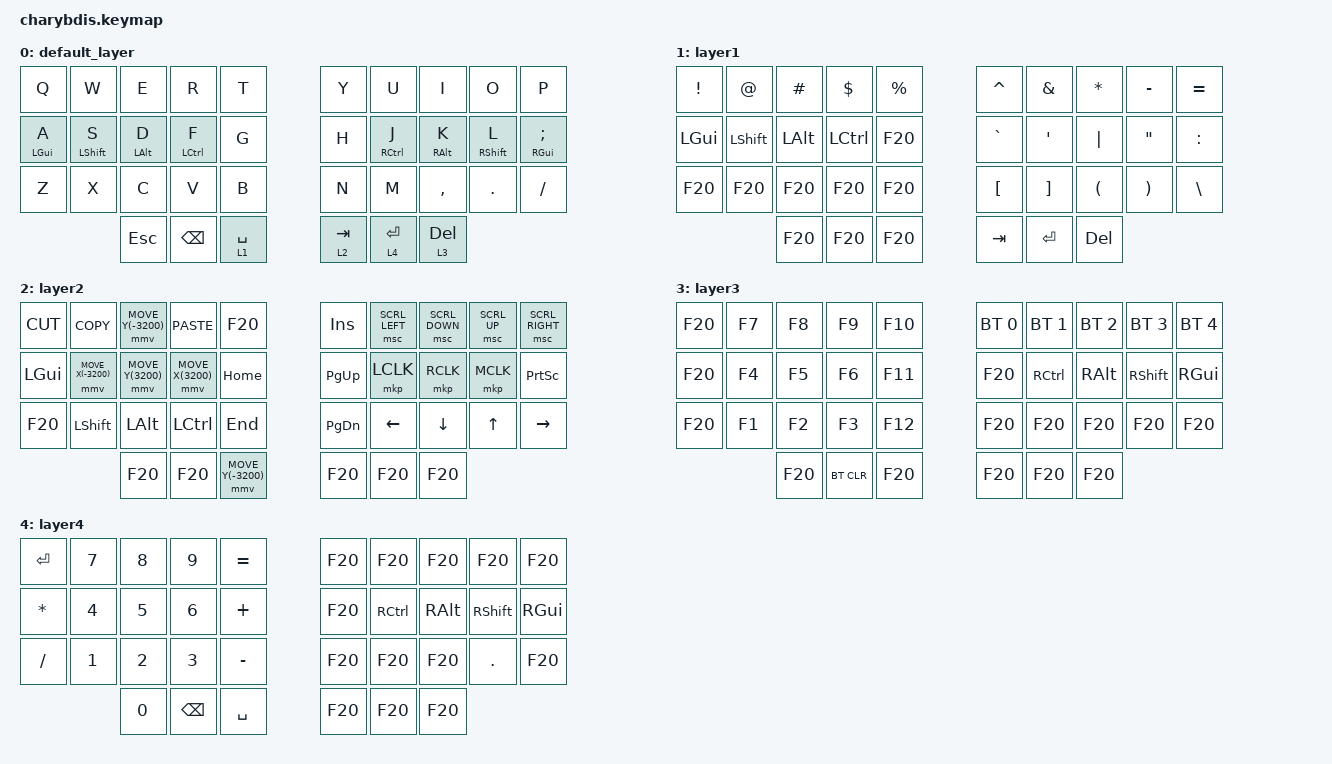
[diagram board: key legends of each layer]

#include <behaviors.dtsi>
#include <dt-bindings/zmk/keys.h>
#include <dt-bindings/zmk/bt.h>
#include <dt-bindings/zmk/outputs.h>
#include <dt-bindings/zmk/mouse.h>
#include <dt-bindings/zmk/ext_power.h>
#include <dt-bindings/zmk/pointing.h>


&lt { // layer-tap
  tapping-term-ms = <200>;
  quick-tap-ms = <200>;
  flavor = "hold-preferred";
};
&mt { // mod-tap
  tapping-term-ms = <200>;
  quick-tap-ms = <200>;
  flavor = "tap-preferred";
};
&mmv {
        time-to-max-speed-ms = <500>;
        acceleration-exponent=<1>;
};
&msc {
    time-to-max-speed-ms = <1>;
    acceleration-exponent = <0>;
};

/ {
    chosen { zmk,matrix_transform = &five_column_transform; };
};

/*                KEY POSITIONS for combos

  ╭────────────────────╮ ╭────────────────────╮
  │  0   1   2   3   4 │ │  5   6   7   8   9 │
  │ 10  11  12  13  14 │ │ 15  16  17  18  19 │
  │ 20  21  22  23  24 │ │ 25  26  27  28  29 │
  ╰───────╮ 30  31  32 │ │ 33  34  35 ╭───────╯
          ╰────────────╯ ╰────────────╯            */

/* / { */
/*     combos { */
/*         compatible = "zmk,combos"; */
/**/
/*         caps { */
/*             bindings = <&caps_word>; */
/*             key-positions = <27 28>; */
/*             layers = <0>; */
/*         }; */
/**/
/*         to_nav_layer { */
/*             bindings = <&to 1>; */
/*             key-positions = <16 17>; */
/*             layers = <0>; */
/*         }; */
/**/
/*         Escape { */
/*             bindings = <&kp ESCAPE>; */
/*             key-positions = <12 11>; */
/*         }; */
/**/
/*         Quote { */
/*             bindings = <&kp SQT>; */
/*             key-positions = <19 18>; */
/*         }; */
/*     }; */
/**/
/*     macros { */
/*         shift: shift { */
/*             compatible = "zmk,behavior-macro-one-param"; */
/*             #binding-cells = <1>; */
/*             bindings = */
/*                 <&macro_press>, */
/*                 <&kp LEFT_SHIFT>, */
/*                 <&macro_tap>, */
/*                 <&macro_param_1to1 &kp MACRO_PLACEHOLDER>, */
/*                 <&macro_release>, */
/*                 <&kp LEFT_SHIFT>; */
/**/
/*             label = "SHIFT"; */
/*         }; */
/**/
/*         Brackets: Brackets { */
/*             compatible = "zmk,behavior-macro"; */
/*             #binding-cells = <0>; */
/*             bindings = <&kp LS(LEFT_BRACKET) &kp SPACE &kp SPACE &kp LS(RIGHT_BRACKET) &kp LEFT &kp LEFT>; */
/*             label = "BRACKETS"; */
/*         }; */
/**/
/*         func_arrow: func_arrow { */
/*             compatible = "zmk,behavior-macro"; */
/*             #binding-cells = <0>; */
/*             bindings = <&kp MINUS &kp GT &kp SPACE>; */
/*             label = "FUNC_ARROW"; */
/*         }; */
/**/
/*         alt_tab_on: alt_tab { */
/*             compatible = "zmk,behavior-macro"; */
/*             #binding-cells = <0>; */
/*             bindings = <&kt LEFT_COMMAND &kp TAB &to 8>; */
/*             label = "ALT_TAB"; */
/*         }; */
/**/
/*         alt_tab_enter: alt_tab_off { */
/*             compatible = "zmk,behavior-macro"; */
/*             #binding-cells = <0>; */
/*             bindings = <&kt LEFT_COMMAND &to 0>; */
/*             label = "ALT_TAB_OFF"; */
/*         }; */
/**/
/*         alt_tab_esc: alt_tab_esc { */
/*             compatible = "zmk,behavior-macro"; */
/*             #binding-cells = <0>; */
/*             bindings = <&kp ESC &kt LEFT_COMMAND &to 0>; */
/*             label = "ALT_TAB_ESC"; */
/*         }; */
/*     }; */
/**/
/*     behaviors { */
/*         as_ht: autoshift_hold_tap { */
/*             compatible = "zmk,behavior-hold-tap"; */
/*             label = "AUTOSHIFT_HOLD_TAP"; */
/*             bindings = <&shift>, <&kp>; */
/**/
/*             #binding-cells = <2>; */
/*             tapping-term-ms = <190>; */
/*             flavor = "tap-preferred"; */
/*         }; */
/*     }; */
/* }; */
/ {

    keymap {
      compatible = "zmk,keymap";

      default_layer {
          bindings = <
//      ╭───────────────────────────────────────────────────────────╮   ╭───────────────────────────────────────────────────────────╮
//      │     Q     │     W     │     E     │     R     │     T     │   │     Y     │     U     │     I     │     O     │     P     │
            &kp Q       &kp W       &kp E        &kp R      &kp T           &kp Y       &kp U       &kp I       &kp O       &kp P    
//      ├───────────┼───────────┼───────────┼───────────┼───────────┤   ├───────────┼───────────┼───────────┼───────────┼───────────┤
//      │     A     │     S     │     D     │     F     │     G     │   │     H     │     J     │     K     │     L     │     :     │
           &mt LGUI A &mt LSHIFT S &mt LALT D &mt LCTRL F    &kp G           &kp H    &mt RCTL J   &mt RALT K &mt RSHFT L &mt RGUI SEMI  
//      ├───────────┼───────────┼───────────┼───────────┼───────────┤   ├───────────┼───────────┼───────────┼───────────┼───────────┤
//      │     Z     │     X     │     C     │     V     │     B     │   │     N     │     M     │     ,     │     .     │     /     │
            &kp Z       &kp X       &kp C      &kp V       &kp B           &kp N        &kp M     &kp COMMA    &kp DOT    &kp SLASH   
//      ╰───────────┼───────────┼───────────┼───────────┼───────────╯   ╰───────────┼───────────┼───────────┼───────────┼───────────╯
//                                   ESC      Backspace     Space           Tab         Enter      Delete
//                              │                                   │   │                                   │
                                   &kp ESC   &kp BSPC    &lt 1 SPACE      &lt 2 TAB   &lt 4 ENTER  &lt 3 DEL
//                              ╰───────────────────────────────────╯   ╰───────────────────────────────────╯
          >;
      };
        layer1 {
          bindings = <
//      ╭───────────────────────────────────────────────────────────╮   ╭───────────────────────────────────────────────────────────╮
//      │     !     │     @     │     #     │     $     │     %     │   │     ^     │     &     │     *     │     -     │     =     │
          &kp EXCL      &kp AT     &kp HASH    &kp DLLR   &kp PRCNT       &kp CARET   &kp AMPS    &kp STAR    &kp MINUS    &kp EQUAL 
//      ├───────────┼───────────┼───────────┼───────────┼───────────┤   ├───────────┼───────────┼───────────┼───────────┼───────────┤
//      │     _     │     _     │     _     │     _     │     _     │   │     `     │     '     │     |     │     "     │     :     │
          &kp LGUI   &kp LSHIFT   &kp LALT    &kp LCTRL    &kp F20        &kp GRAVE    &kp SQT    &kp PIPE     &kp DQT    &kp COLON     
//      ├───────────┼───────────┼───────────┼───────────┼───────────┤   ├───────────┼───────────┼───────────┼───────────┼───────────┤
//      │     _     │     _     │     _     │     _     │     _     │   │     [     │     ]     │     (     │     )     │     \     │
          &kp F20     &kp F20      &kp F20     &kp F20     &kp F20        &kp LBKT    &kp RBKT     &kp LPAR   &kp RPAR    &kp BSLH     
//      ╰───────────┼───────────┼───────────┼───────────┼───────────╯   ╰───────────┼───────────┼───────────┼───────────┼───────────╯
//                                   ___         ___         ___            ___         ___         ___
//                              │                                   │   │                                   │
                                   &kp F20     &kp F20     &kp F20        &kp TAB     &kp ENTER    &kp DEL
//                              ╰───────────────────────────────────╯   ╰───────────────────────────────────╯
          >;
        };
        layer2 {
          bindings = <
//      ╭───────────────────────────────────────────────────────────╮   ╭───────────────────────────────────────────────────────────╮
//      │     _     │     _     │     _     │     _     │     _     │   │     _     │     _     │     _     │     _     │     _     │
         &kp K_CUT  &kp K_COPY &mmv MOVE_Y(-3200) &kp K_PASTE &kp F20 &kp INSERT &msc SCRL_LEFT &msc SCRL_DOWN &msc SCRL_UP &msc SCRL_RIGHT  
//      ├───────────┼───────────┼───────────┼───────────┼───────────┤   ├───────────┼───────────┼───────────┼───────────┼───────────┤
//      │     _     │     _     │     _     │     _     │     _     │   │     _     │     _     │     _     │     _     │     _     │
      &kp LGUI &mmv MOVE_X(-3200) &mmv MOVE_Y(3200) &mmv MOVE_X(3200) &kp HOME &kp PG_UP    &mkp LCLK   &mkp RCLK   &mkp MCLK   &kp PSCRN   
//      ├───────────┼───────────┼───────────┼───────────┼───────────┤   ├───────────┼───────────┼───────────┼───────────┼───────────┤
//      │     _     │     _     │     _     │     _     │     _     │   │     _     │     _     │     _     │     _     │     _     │
//           ___         ___         ___         ___         ___             ___         ___         ___         ___         ___     
          &kp F20     &kp LSHFT   &kp LALT    &kp LCTL    &kp END         &kp PG_DN   &kp LEFT    &kp DOWN     &kp UP     &kp RIGHT     
//      ╰───────────┼───────────┼───────────┼───────────┼───────────╯   ╰───────────┼───────────┼───────────┼───────────┼───────────╯
//                                   ___         ___         ___            ___         ___         ___
//                              │                                   │   │                                   │
                                &kp F20 &kp F20 &mmv MOVE_Y(-3200)      &kp F20    &kp F20     &kp F20
//                              ╰───────────────────────────────────╯   ╰───────────────────────────────────╯
          >;
        };
        layer3 {
          bindings = <
//      ╭───────────────────────────────────────────────────────────╮   ╭───────────────────────────────────────────────────────────╮
//      │     _     │     _     │     _     │     _     │     _     │   │     _     │     _     │     _     │     _     │     _     │
          &kp F20      &kp F7      &kp F8      &kp F9      &kp F10      &bt BT_SEL 0 &bt BT_SEL 1 &bt BT_SEL 2 &bt BT_SEL 3 &bt BT_SEL 4  
//      ├───────────┼───────────┼───────────┼───────────┼───────────┤   ├───────────┼───────────┼───────────┼───────────┼───────────┤
//      │     _     │     _     │     _     │     _     │     _     │   │     _     │     _     │     _     │     _     │     _     │
          &kp F20      &kp F4      &kp F5      &kp F6      &kp F11        &kp F20     &kp RCTL    &kp RALT    &kp RSHFT    &kp RGUI    
//      ├───────────┼───────────┼───────────┼───────────┼───────────┤   ├───────────┼───────────┼───────────┼───────────┼───────────┤
//      │     _     │     _     │     _     │     _     │     _     │   │     _     │     _     │     _     │     _     │     _     │
          &kp F20      &kp F1      &kp F2      &kp F3      &kp F12        &kp F20     &kp F20     &kp F20     &kp F20      &kp F20    
//      ╰───────────┼───────────┼───────────┼───────────┼───────────╯   ╰───────────┼───────────┼───────────┼───────────┼───────────╯
//                                   ___         ___         ___            ___         ___         ___
//                              │                                   │   │                                   │
                                   &kp F20     &bt BT_CLR  &kp F20        &kp F20     &kp F20     &kp F20
//                              ╰───────────────────────────────────╯   ╰───────────────────────────────────╯
          >;
        };
        layer4 {
          bindings = <
//      ╭───────────────────────────────────────────────────────────╮   ╭───────────────────────────────────────────────────────────╮
//      │     _     │     _     │     _     │     _     │     _     │   │     _     │     _     │     _     │     _     │     _     │
          &kp ENTER    &kp N7      &kp N8      &kp N9     &kp EQUAL        &kp F20     &kp F20     &kp F20     &kp F20     &kp F20   
//      ├───────────┼───────────┼───────────┼───────────┼───────────┤   ├───────────┼───────────┼───────────┼───────────┼───────────┤
//      │     _     │     _     │     _     │     _     │     _     │   │     _     │     _     │     _     │     _     │     _     │
          &kp STAR     &kp N4      &kp N5      &kp N6     &kp PLUS         &kp F20     &kp RCTL    &kp RALT    &kp RSHFT   &kp RGUI     
//      ├───────────┼───────────┼───────────┼───────────┼───────────┤   ├───────────┼───────────┼───────────┼───────────┼───────────┤
//      │     _     │     _     │     _     │     _     │     _     │   │     _     │     _     │     _     │     _     │     _     │
          &kp SLASH    &kp N1      &kp N2      &kp N3     &kp MINUS        &kp F20     &kp F20     &kp F20     &kp DOT     &kp F20     
//      ╰───────────┼───────────┼───────────┼───────────┼───────────╯   ╰───────────┼───────────┼───────────┼───────────┼───────────╯
//                                   ___         ___         ___            ___         ___         ___
//                              │                                   │   │                                   │
                                   &kp N0      &kp BSPC   &kp SPACE        &kp F20     &kp F20     &kp F20
//                              ╰───────────────────────────────────╯   ╰───────────────────────────────────╯
          >;
        };
  }; 
};  

//                                  Template for new layers all keys are transparent
//      ╭───────────────────────────────────────────────────────────╮   ╭───────────────────────────────────────────────────────────╮
//      │     _     │     _     │     _     │     _     │     _     │   │     _     │     _     │     _     │     _     │     _     │
//           ___          ___         ___         ___         ___             ___         ___         ___         ___         ___     
//      ├───────────┼───────────┼───────────┼───────────┼───────────┤   ├───────────┼───────────┼───────────┼───────────┼───────────┤
//      │     _     │     _     │     _     │     _     │     _     │   │     _     │     _     │     _     │     _     │     _     │
//           ___         ___         ___         ___         ___             ___         ___         ___         ___         ___     
//      ├───────────┼───────────┼───────────┼───────────┼───────────┤   ├───────────┼───────────┼───────────┼───────────┼───────────┤
//      │     _     │     _     │     _     │     _     │     _     │   │     _     │     _     │     _     │     _     │     _     │
//           ___         ___         ___         ___         ___             ___         ___         ___         ___         ___     
//      ╰───────────┼───────────┼───────────┼───────────┼───────────╯   ╰───────────┼───────────┼───────────┼───────────┼───────────╯
//                                   ___         ___         ___            ___         ___         ___
//                              │                                   │   │                                   │
//                              ╰───────────────────────────────────╯   ╰───────────────────────────────────╯
